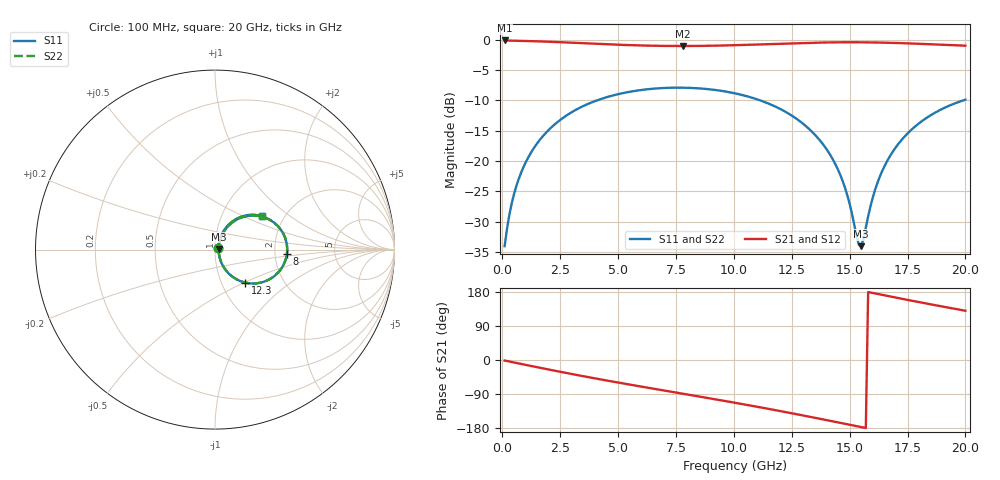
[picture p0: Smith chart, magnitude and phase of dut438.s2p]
! Touchstone file exported from HFSS 2026.1.0
!  File:  C:/ffzhzh/LocalFiles/Ansys_Project_Files/temp_train_TSV_RDL_438_1783098306_46604.aedt
!  Generated:  01:15:24 AM Jul  4, 2026
!  Design:  TSV_RDL
!  Project:  temp_train_TSV_RDL_438_1783098306_46604
! Variables:
!  h_bsmrdl = 4.99um
!  h_ox = 20um
!  h_rdl = 5um
!  h_sub = 57.23um
!  h_tmrdl = 3.32um
!  h_tsv = 57.23um
!  h_via = 3um
!  l_bsmrdl = 561.62um
!  l_sub = 3997.86um
!  l_tmrdl = 448.79um
!  m_sub = 200um
!  pitch = 36.69um
!  r_tsv = 10.12um
!  s_tmrdl = 10um
!  w_bsmrdl = 18.12um
!  w_sub = 500um
!  w_tmrdl = 21.16um
!  x_tsv_center1 = 459.37um
!  x_tsv_center2 = 1039.11um
!  x_tsv_center3 = 1509.06um
!  x_tsv_center4 = 2088.8um
!  x_tsv_center5 = 2558.75um
!  x_tsv_center6 = 3138.49um
# GHz S MA R 50.000000
! Terminal data exported
! Port[1] = TM_RDL1_1_T1
! Port[2] = TM_RDL5_1_T1
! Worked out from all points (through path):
!   200 points, 100 MHz to 20 GHz, reference 50 ohm
!   highest |S21| = -0.15 dB at 100 MHz (marker M1); lowest = -1.1 dB at 7.8 GHz (marker M2)
!   group delay of S21, straight-line fit = 31.5 ps
!   lowest |S11| = -34.0 dB at 15.5 GHz (marker M3), VSWR 1.04, Z = 52 + j0.344 ohm
!   |S11| at or under -10 dB: start of sweep to 4.095 GHz; 11.13 GHz to 19.92 GHz (8.785 GHz wide, 56.6 % of centre)
!   |S22| runs from -34.0 to -7.9 dB; largest |S21 - S12| = 2.5e-14
!   S11 on the Smith chart (normalised r, x): 100 MHz: 1.03, +0.02; 8 GHz: 2.33, -0.15; 12.3 GHz: 1.29, -0.51; 20 GHz: 1.54, +0.64
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0.1  0.01996 31.3  0.9831 -1.4  0.9831 -1.4  0.01996 31.3
! Gamma 0 0 0 0
! Port Impedance 50 0 50 0
0.3  0.03572 54.8  0.981 -4.0  0.981 -4.0  0.03571 54.8
0.5  0.05295 61.7  0.9791 -6.5  0.9791 -6.5  0.05295 61.7
1.2  0.114 63.7  0.9717 -15.3  0.9717 -15.3  0.114 63.7
2.2  0.1957 55.5  0.9568 -27.5  0.9568 -27.5  0.1957 55.5
3.5  0.2839 42.1  0.9326 -42.8  0.9326 -42.8  0.2839 42.1
5.1  0.3589 25.4  0.9051 -60.6  0.9051 -60.6  0.3589 25.4
6.8  0.3978 8.2  0.8877 -78.6  0.8877 -78.6  0.3978 8.2
7.8  0.4019 -1.8  0.8851 -89.0  0.8851 -89.0  0.4019 -1.8
8  0.401 -3.8  0.8853 -91.1  0.8853 -91.1  0.401 -3.8
10.1  0.3592 -24.9  0.8994 -113.4  0.8994 -113.4  0.3592 -24.8
12.3  0.25 -47.4  0.9285 -138.2  0.9285 -138.2  0.25 -47.3
13.4  0.1726 -58.1  0.9416 -151.2  0.9416 -151.2  0.1726 -57.9
14.1  0.1175 -63.2  0.9472 -159.7  0.9472 -159.7  0.1176 -62.9
14.6  0.07666 -63.9  0.9495 -165.9  0.9495 -165.9  0.07679 -63.5
15  0.04453 -57.3  0.9501 -170.8  0.9501 -170.8  0.04478 -56.7
15.4  0.02045 -13.9  0.9497 -175.8  0.9497 -175.8  0.02101 -13.4
15.5  0.01995 9.5  0.9494 -177.0  0.9494 -177.0  0.02054 9.3
16.1  0.05803 63.4  0.9462 175.6  0.9462 175.6  0.05824 62.9
16.7  0.1065 65.5  0.9408 168.3  0.9408 168.3  0.1066 65.2
18  0.2049 55.6  0.923 152.7  0.923 152.7  0.2049 55.4
20  0.32 35.7  0.8903 130.0  0.8903 130.0  0.3201 35.6
